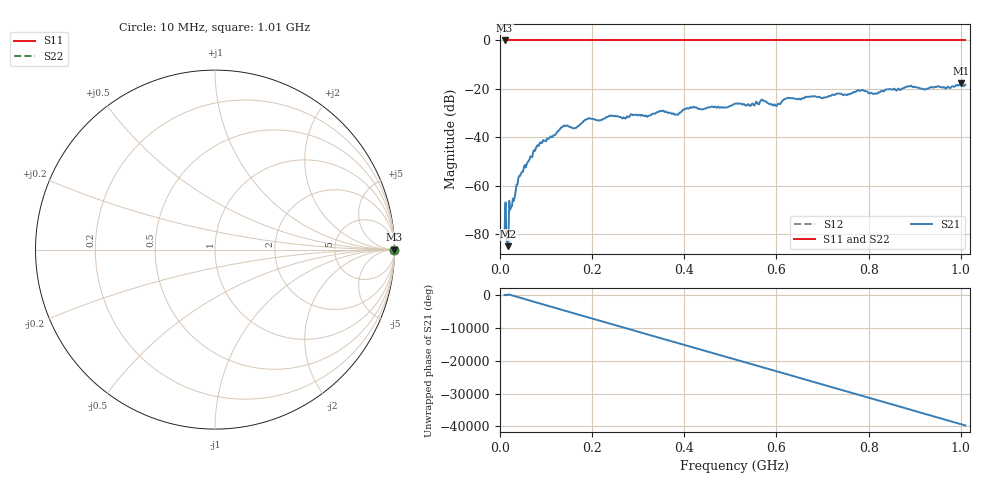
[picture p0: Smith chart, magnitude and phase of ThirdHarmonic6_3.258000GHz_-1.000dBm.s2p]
! 8/17/2025 10:02:51 AM
! C:\ANRITSUVNA\TEMP\TEMP.S2P
! CHANNEL.1
! TR.MEASUREMENT
! RAW.DATA
! RF.CORRECTION.OFF
! AVERAGING.OFF
! IF.BANDWIDTH: 5KHZ
! SWEEPTYPE:  FREQ.SWEEP(Linear)
! Reference Plane Port Info
! PORT:  PORT1  PORT2
! DISTANCE:  0  m  0  m
! TIME:  0  s  0  s
! PHASE.OFFSET:  0  deg.  0  deg.
! LOSS:  0  dB  0  dB
! REF.LOSS:  0  dB  0  dB
! REF.FREQ:  0  Hz  0  Hz
! Power Info
! POWER:  -20  dBm  -20  dBm
! EFF.POWER:  -20  dBm  -20  dBm
! SOURCE.ATTEN:  0  dB  0  dB
! TEST.ATTEN:  0  dB  0  dB
# GHZ S RI R 50.0
! FREQ.GHZ  S11RE  S11IM  S21RE  S21IM  S12RE  S12IM  S22RE  S22IM
!; PortSelection: Port_12
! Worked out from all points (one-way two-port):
!   501 points, 10 MHz to 1.01 GHz, reference 50 ohm
!   highest |S21| = -17.55 dB at 1 GHz (marker M1); lowest = -84.9 dB at 18 MHz (marker M2)
!   lowest |S11| = 0.0 dB at 10 MHz (marker M3)
!   |S11| at or under -10 dB: nowhere
!   |S22| runs from 0.0 to 0.0 dB; largest |S21 - S12| = 1.1
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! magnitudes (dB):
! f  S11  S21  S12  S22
! 10 MHz  0.0  -78.2  0.0  0.0
! 18 MHz  0.0  -84.9  0.0  0.0
! 24 MHz  0.0  -68.9  0.0  0.0
! 28 MHz  0.0  -65.3  0.0  0.0
! 40 MHz  0.0  -56.6  0.0  0.0
! 78 MHz  0.0  -44.4  0.0  0.0
! 136 MHz  0.0  -35.6  0.0  0.0
! 162 MHz  0.0  -36.2  0.0  0.0
! 178 MHz  0.0  -34.0  0.0  0.0
! 344 MHz  0.0  -29.5  0.0  0.0
! 382 MHz  0.0  -30.5  0.0  0.0
! 416 MHz  0.0  -27.8  0.0  0.0
! 510 MHz  0.0  -26.1  0.0  0.0
! 570 MHz  0.0  -24.6  0.0  0.0
! 596 MHz  0.0  -26.4  0.0  0.0
! 622 MHz  0.0  -23.9  0.0  0.0
! 678 MHz  0.0  -23.1  0.0  0.0
! 780 MHz  0.0  -20.8  0.0  0.0
! 814 MHz  0.0  -21.8  0.0  0.0
! 844 MHz  0.0  -20.1  0.0  0.0
! 1 GHz  0.0  -17.6  0.0  0.0
! 1.01 GHz  0.0  -18.3  0.0  0.0
